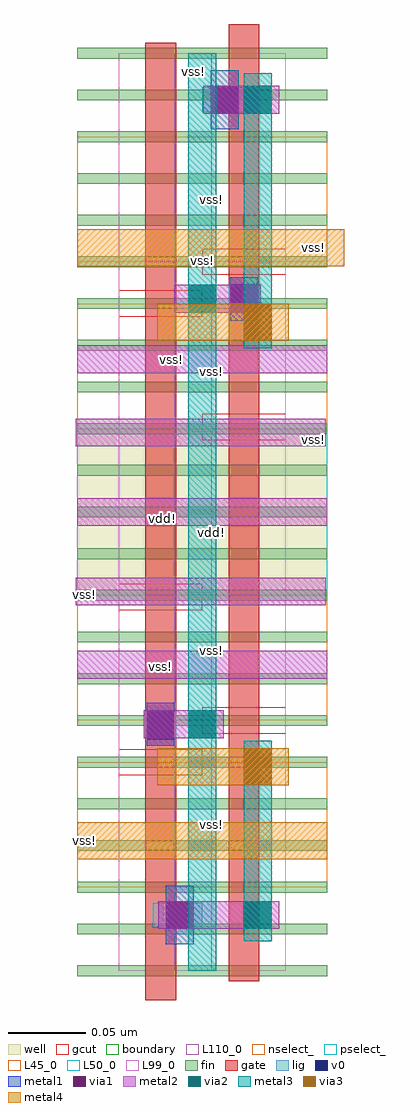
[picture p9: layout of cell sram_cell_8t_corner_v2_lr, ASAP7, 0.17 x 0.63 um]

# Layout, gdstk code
import gdstk
lib = gdstk.Library(unit=1e-6, precision=2.5e-10)
def R(c, l, rs):  # rectangles x0, y0, x1, y1
    for r in rs: c.add(gdstk.rectangle(r[:2], r[2:], *l))
def A(c, l, x, y, w, h, nx, ny, dx, dy):  # array of equal rectangles
    R(c, l, [(x+i*dx, y+j*dy, x+i*dx+w, y+j*dy+h) for i in range(nx) for j in range(ny)])
well = (1, 0)
fin = (2, 0)
gate = (7, 0)
gcut = (10, 0)
nselect_ = (12, 0)
pselect_ = (13, 0)
lig = (16, 0)
v0 = (18, 0)
metal1 = (19, 0)
metal2 = (20, 0)
via1 = (21, 0)
via2 = (25, 0)
metal3 = (30, 0)
via3 = (35, 0)
metal4 = (40, 0)
L45_0 = (45, 0)
L50_0 = (50, 0)
L99_0 = (99, 0)
boundary = (100, 0)
L110_0 = (110, 0)

sram_cell_8t_corner_v2_l = lib.new_cell('sram_cell_8t_corner_v2_lr')
R(sram_cell_8t_corner_v2_l, well, [(-0.027,0.081,0.135,0.189)])
A(sram_cell_8t_corner_v2_l, fin, -0.027, -0.1655, 0.162, 0.007, 1, 23, 0, 0.027)
R(sram_cell_8t_corner_v2_l, gate, [(0.017,-0.181,0.037,0.439), (0.071,-0.169,0.091,0.451)])
R(sram_cell_8t_corner_v2_l, gcut, [(0,-0.0355,0.054,-0.0185), (0.054,-0.0085,0.108,0.0085), (0,0.0715,0.054,0.0885), (0.054,0.1815,0.108,0.1985), (0,0.2615,0.054,0.2785), (0.054,0.2885,0.108,0.3055)])
R(sram_cell_8t_corner_v2_l, nselect_, [(-0.027,-0.108,0.135,-0.027), (-0.027,0,0.135,0.081), (-0.027,0.189,0.135,0.27), (-0.027,0.297,0.135,0.378)])
R(sram_cell_8t_corner_v2_l, pselect_, [(-0.027,0.081,0.135,0.189)])
R(sram_cell_8t_corner_v2_l, lig, [(0.022,-0.134,0.054,-0.118), (0.016,-0.0115,0.037,0.0045), (0.071,0.2655,0.092,0.2815), (0.054,0.394,0.091,0.41)])
R(sram_cell_8t_corner_v2_l, v0, [(0.0305,-0.135,0.0485,-0.117), (0.018,-0.0125,0.036,0.0055), (0.072,0.2645,0.09,0.2825), (0.0595,0.393,0.0775,0.411)])
R(sram_cell_8t_corner_v2_l, metal1, [(0.0305,-0.145,0.0485,-0.107), (0.018,-0.0165,0.036,0.0115), (0.072,0.259,0.09,0.287), (0.0595,0.383,0.0775,0.421)])
A(sram_cell_8t_corner_v2_l, metal2, -0.027, 0.027, 0.162, 0.018, 1, 3, 0, 0.099)
R(sram_cell_8t_corner_v2_l, metal2, [(0.0255,-0.135,0.104,-0.117), (0.016,-0.0115,0.068,0.0065), (-0.028,0.0745,0.134,0.0925), (-0.028,0.1775,0.134,0.1955), (0.036,0.264,0.092,0.282), (0.0545,0.393,0.104,0.411)])
R(sram_cell_8t_corner_v2_l, via1, [(0.0305,-0.135,0.0485,-0.117), (0.018,-0.0115,0.036,0.0065), (0.072,0.264,0.09,0.282), (0.0595,0.393,0.0775,0.411)])
R(sram_cell_8t_corner_v2_l, via2, [(0.081,-0.135,0.099,-0.117), (0.045,-0.0115,0.063,0.0065), (0.045,0.264,0.063,0.282), (0.081,0.393,0.099,0.411)])
R(sram_cell_8t_corner_v2_l, metal3, [(0.045,-0.162,0.063,0.432), (0.081,-0.143,0.099,-0.013), (0.081,0.241,0.099,0.419)])
R(sram_cell_8t_corner_v2_l, via3, [(0.081,-0.042,0.099,-0.018), (0.081,0.246,0.099,0.27)])
R(sram_cell_8t_corner_v2_l, metal4, [(-0.027,-0.09,0.135,-0.066), (0.025,-0.042,0.11,-0.018), (0.025,0.246,0.11,0.27), (-0.027,0.294,0.146,0.318)])
R(sram_cell_8t_corner_v2_l, L45_0, [(0.036,-0.042,0.06,-0.018), (0.036,0.246,0.06,0.27)])
R(sram_cell_8t_corner_v2_l, L50_0, [(0.036,-0.162,0.06,0.432)])
R(sram_cell_8t_corner_v2_l, L99_0, [(0,-0.162,0.108,0.432)])
R(sram_cell_8t_corner_v2_l, boundary, [(0,-0.162,0.108,0.432)])
R(sram_cell_8t_corner_v2_l, L110_0, [(0,-0.162,0.108,0.432)])
sram_cell_8t_corner_v2_l.add(gdstk.Label('vss!', (0.027,0.035), layer=20, texttype=251))
sram_cell_8t_corner_v2_l.add(gdstk.Label('vss!', (0.034,0.234), layer=20, texttype=251))
sram_cell_8t_corner_v2_l.add(gdstk.Label('vdd!', (0.0285,0.1305), layer=20, texttype=251))
sram_cell_8t_corner_v2_l.add(gdstk.Label('vss!', (-0.022,0.0815), layer=20, texttype=251))
sram_cell_8t_corner_v2_l.add(gdstk.Label('vss!', (0.126,0.182), layer=20, texttype=251))
sram_cell_8t_corner_v2_l.add(gdstk.Label('vdd!', (0.06,0.122), layer=1, texttype=251))
sram_cell_8t_corner_v2_l.add(gdstk.Label('vss!', (0.06,0.0455), layer=3, texttype=251))
sram_cell_8t_corner_v2_l.add(gdstk.Label('vss!', (0.06,0.226), layer=3, texttype=251))
sram_cell_8t_corner_v2_l.add(gdstk.Label('vss!', (0.126,0.306), layer=40, texttype=251))
sram_cell_8t_corner_v2_l.add(gdstk.Label('vss!', (-0.022,-0.078), layer=40, texttype=251))
sram_cell_8t_corner_v2_l.add(gdstk.Label('vss!', (0.06,0.3375), layer=3, texttype=251))
sram_cell_8t_corner_v2_l.add(gdstk.Label('vss!', (0.06,-0.0675), layer=3, texttype=251))
sram_cell_8t_corner_v2_l.add(gdstk.Label('vss!', (0.054,0.298), layer=30, texttype=251))
sram_cell_8t_corner_v2_l.add(gdstk.Label('vss!', (0.048,0.42), layer=50, texttype=251))

lib.write_gds('sram_cell_8t_corner_v2_lr.gds')
